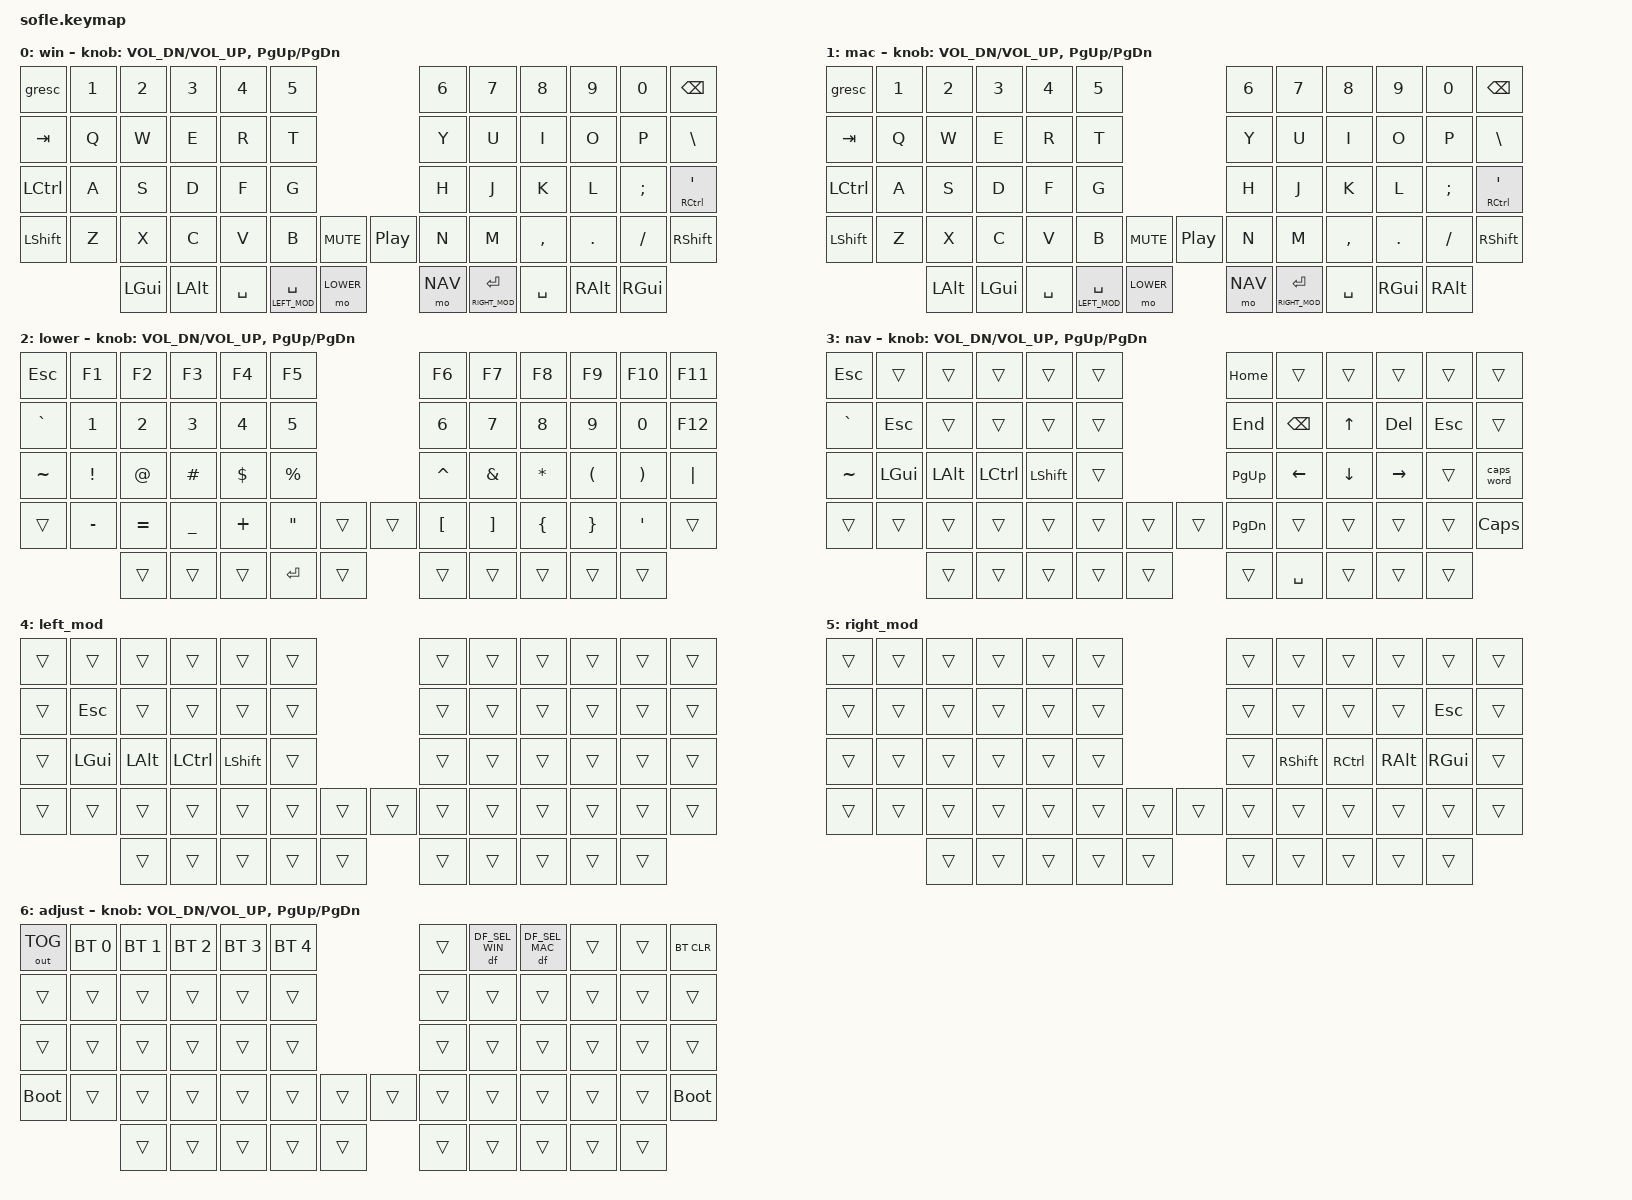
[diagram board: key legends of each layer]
/*
 * Copyright (c) 2020 The ZMK Contributors
 *
 * SPDX-License-Identifier: MIT
 */

#include <behaviors.dtsi>
#include <behaviors/actping.dtsi>
#include <behaviors/default_layer.dtsi>
#include <dt-bindings/zmk/bt.h>
#include <dt-bindings/zmk/keys.h>
#include <dt-bindings/zmk/outputs.h>
#include <dt-bindings/zmk_behavior_default_layer/default_layer.h>

#define WIN       0
#define MAC       1
#define LOWER     2
#define NAV       3
#define LEFT_MOD  4
#define RIGHT_MOD 5
#define ADJUST    6

&gresc {
    keep-mods = <(MOD_LGUI|MOD_RGUI|MOD_RALT|MOD_LALT)>;
    mods = <(MOD_LGUI|MOD_RGUI|MOD_LALT|MOD_RALT)>;
};

&lt {
    flavor = "balanced";
    quick-tap-ms = <200>;
    require-prior-idle-ms = <125>;
};

&mt {
    flavor = "balanced";
    quick-tap-ms = <200>;
    require-prior-idle-ms = <125>;
};

/ {
    combos {
        compatible = "zmk,combos";

        combo_thumb_shift {
            timeout-ms = <100>;
            key-positions = <53 56>;
            bindings = <&kp LSHFT>;
            layers = <WIN MAC>;
            slow-release;
        };
    };

    // Activate ADJUST layer by pressing LOWER and NAV
    conditional_layers {
        compatible = "zmk,conditional-layers";

        tri_layer {
            if-layers = <LOWER NAV>;
            then-layer = <ADJUST>;
        };
    };

    keymap {
        compatible = "zmk,keymap";

        win {
            label = "win";

            // ------------------------------------------------------------------------------------------------------------
            // |   `   |  1  |  2  |  3   |  4   |  5   |                   |  6   |  7    |  8    |  9   |   0   | BKSPC |
            // |  TAB  |  Q  |  W  |  E   |  R   |  T   |                   |  Y   |  U    |  I    |  O   |   P   |   \   |
            // | CTRL  |  A  |  S  |  D   |  F   |  G   |                   |  H   |  J    |  K    |  L   |   ;   |   '   |
            // | SHIFT |  Z  |  X  |  C   |  V   |  B   |  MUTE  |  |  PLAY |  N   |  M    |  ,    |  .   |   /   | SHIFT |
            //               | GUI | ALT  | SPC  | LMOD |  LOWER |  |  NAV  | RMOD | SPACE | ALT   | GUI  |

            bindings = <
&gresc     &kp N1  &kp N2    &kp N3     &kp N4            &kp N5                                     &kp N6             &kp N7     &kp N8     &kp N9    &kp N0    &kp BACKSPACE
&kp TAB    &kp Q   &kp W     &kp E      &kp R             &kp T                                      &kp Y              &kp U      &kp I      &kp O     &kp P     &kp BACKSLASH
&kp LCTRL  &kp A   &kp S     &kp D      &kp F             &kp G                                      &kp H              &kp J      &kp K      &kp L     &kp SEMI  &mt RCTRL SQT
&kp LSHFT  &kp Z   &kp X     &kp C      &kp V             &kp B      &kp C_MUTE    &kp C_PP           &kp N              &kp M      &kp COMMA  &kp DOT   &kp FSLH  &kp RSHFT
                   &kp LGUI  &kp LALT   &kp SPACE         &lt LEFT_MOD SPACE  &mo LOWER     &mo NAV  &lt RIGHT_MOD ENTER  &kp SPACE  &kp RALT   &kp RGUI
            >;

            sensor-bindings =
                <&inc_dec_kp C_VOL_DN C_VOL_UP>,
                <&inc_dec_kp PAGE_UP PAGE_DOWN>;
        };

        mac {
            label = "mac";
            bindings = <
&gresc     &kp N1  &kp N2    &kp N3     &kp N4            &kp N5                                     &kp N6             &kp N7     &kp N8     &kp N9    &kp N0    &kp BACKSPACE
&kp TAB    &kp Q   &kp W     &kp E      &kp R             &kp T                                      &kp Y              &kp U      &kp I      &kp O     &kp P     &kp BACKSLASH
&kp LCTRL  &kp A   &kp S     &kp D      &kp F             &kp G                                      &kp H              &kp J      &kp K      &kp L     &kp SEMI  &mt RCTRL SQT
&kp LSHFT  &kp Z   &kp X     &kp C      &kp V             &kp B      &kp C_MUTE    &kp C_PP           &kp N              &kp M      &kp COMMA  &kp DOT   &kp FSLH  &kp RSHFT
                   &kp LALT  &kp LGUI   &kp SPACE         &lt LEFT_MOD SPACE  &mo LOWER     &mo NAV  &lt RIGHT_MOD ENTER  &kp SPACE  &kp RGUI   &kp RALT
            >;

            sensor-bindings =
                <&inc_dec_kp C_VOL_DN C_VOL_UP>,
                <&inc_dec_kp PAGE_UP PAGE_DOWN>;
        };

        lower {
            label = "lower";

            // ------------------------------------------------------------------------------------------------------------
            // |  ESC  |  F1 |  F2 |  F3  |  F4  |  F5  |                   |  F6  |  F7   |  F8   |  F9  |  F10  |  F11  |
            // |   `   |  1  |  2  |  3   |  4   |  5   |                   |  6   |  7    |  8    |  9   |   0   |  F12  |
            // |   ~   |  !  |  @  |  #   |  $   |  %   |                   |  ^   |  &    |  *    |  (   |   )   |   |   |
            // |       |  -  |  =  |  _   |  +   |  "   |        |  |       |  [   |  ]    |  {    |  }   |   '   |       |
            //               |     |      |      | RET  |        |  |       |      |       |       |      |

            bindings = <
&kp ESCAPE  &kp F1     &kp F2     &kp F3          &kp F4    &kp F5                              &kp F6             &kp F7          &kp F8           &kp F9     &kp F10   &kp F11
&kp GRAVE   &kp N1     &kp N2     &kp N3          &kp N4    &kp N5                              &kp N6             &kp N7          &kp N8           &kp N9     &kp N0    &kp F12
&kp TILDE   &kp EXCL   &kp AT     &kp HASH        &kp DLLR  &kp PRCNT                           &kp CARET          &kp AMPS        &kp ASTERISK     &kp LPAR   &kp RPAR  &kp PIPE
&trans      &kp MINUS  &kp EQUAL  &kp UNDERSCORE  &kp PLUS  &kp DQT           &trans    &trans  &kp LEFT_BRACKET   &kp RIGHT_BRACKET  &kp LEFT_BRACE  &kp RIGHT_BRACE  &kp SQT  &trans
                       &trans     &trans          &trans    &kp ENTER         &trans    &trans  &trans             &trans          &trans           &trans
            >;

            sensor-bindings =
                <&inc_dec_kp C_VOL_DN C_VOL_UP>,
                <&inc_dec_kp PG_UP PG_DN>;
        };

        nav {
            label = "nav";

            // ------------------------------------------------------------------------------------------------------------
            // |  ESC  |      |      |       |      |      |                | HOME |      |       |      |       |       |
            // |   `   | ESC  |      |       |      |      |                | END  | BKSP |   ^   | DEL  |  ESC  |       |
            // |   ~   | GUI  | ALT  | CTRL  | SHFT |      |                | PGUP |  <-  |   v   |  ->  |       | CAPWD |
            // |       |      |      |       |      |      |      |  |      | PGDN |      |       |      |       | CAPS  |
            //                |      |       |      |      |      |  |      | SPC  |      |       |      |

            bindings = <
&kp ESCAPE  &trans    &trans    &trans     &trans     &trans                    &kp HOME       &trans         &trans    &trans     &trans   &trans
&kp GRAVE   &kp ESC   &trans    &trans     &trans     &trans                    &kp END        &kp BACKSPACE  &kp UP    &kp DEL    &kp ESC  &trans
&kp TILDE   &kp LGUI  &kp LALT  &kp LCTRL  &kp LSHFT  &trans                    &kp PAGE_UP    &kp LEFT       &kp DOWN  &kp RIGHT  &trans   &caps_word
&trans      &trans    &trans    &trans     &trans     &trans  &trans    &trans  &kp PAGE_DOWN  &trans         &trans    &trans     &trans   &kp CAPSLOCK
                      &trans    &trans     &trans     &trans  &trans    &trans  &kp SPACE      &trans         &trans    &trans
            >;

            sensor-bindings =
                <&inc_dec_kp C_VOL_DN C_VOL_UP>,
                <&inc_dec_kp PG_UP PG_DN>;
        };

        left_mod {
            bindings = <
&trans  &trans    &trans    &trans     &trans     &trans                    &trans  &trans  &trans  &trans  &trans  &trans
&trans  &kp ESC   &trans    &trans     &trans     &trans                    &trans  &trans  &trans  &trans  &trans  &trans
&trans  &kp LGUI  &kp LALT  &kp LCTRL  &kp LSHFT  &trans                    &trans  &trans  &trans  &trans  &trans  &trans
&trans  &trans    &trans    &trans     &trans     &trans  &trans    &trans  &trans  &trans  &trans  &trans  &trans  &trans
                  &trans    &trans     &trans     &trans  &trans    &trans  &trans  &trans  &trans  &trans
            >;

            label = "left_mod";
        };

        right_mod {
            bindings = <
&trans  &trans  &trans  &trans  &trans  &trans                    &trans  &trans     &trans     &trans    &trans    &trans
&trans  &trans  &trans  &trans  &trans  &trans                    &trans  &trans     &trans     &trans    &kp ESC   &trans
&trans  &trans  &trans  &trans  &trans  &trans                    &trans  &kp RSHFT  &kp RCTRL  &kp RALT  &kp RGUI  &trans
&trans  &trans  &trans  &trans  &trans  &trans  &trans    &trans  &trans  &trans     &trans     &trans    &trans    &trans
                &trans  &trans  &trans  &trans  &trans    &trans  &trans  &trans     &trans     &trans
            >;

            label = "right_mod";
        };

        adjust {
            label = "adjust";

            // ------------------------------------------------------------------------------------------------------------
            // | OUTTG | BT1  | BT2  |  BT3  |  BT4  |  BT5 |                |      | WIN  |  MAC  |      |       | BTCLR |
            // |       |      |      |       |      |      |                |      |      |       |      |       |       |
            // |       |      |      |       |      |      |                |      |      |       |      |       |       |
            // | BOOT  |      |      |       |      |      |      |  |      |      |      |       |      |       | BOOT  |
            //                |      |       |      |      |      |  |      |      |      |       |      |

            bindings = <
&out OUT_TOG  &bt BT_SEL 0  &bt BT_SEL 1  &bt BT_SEL 2  &bt BT_SEL 3  &bt BT_SEL 4                    &trans  &df DF_SEL WIN  &df DF_SEL MAC  &trans  &trans  &bt BT_CLR
&trans  &trans        &trans        &trans        &trans        &trans                          &trans  &trans          &trans          &trans  &trans  &trans
&trans  &trans        &trans        &trans        &trans        &trans                          &trans  &trans          &trans          &trans  &trans  &trans
&bootloader   &trans        &trans        &trans        &trans        &trans        &trans    &trans  &trans  &trans          &trans          &trans  &trans  &bootloader
                      &trans        &trans        &trans        &trans        &trans    &trans  &trans  &trans          &trans          &trans
            >;

            sensor-bindings =
                <&inc_dec_kp C_VOL_DN C_VOL_UP>,
                <&inc_dec_kp PG_UP PG_DN>;
        };
    };
};
